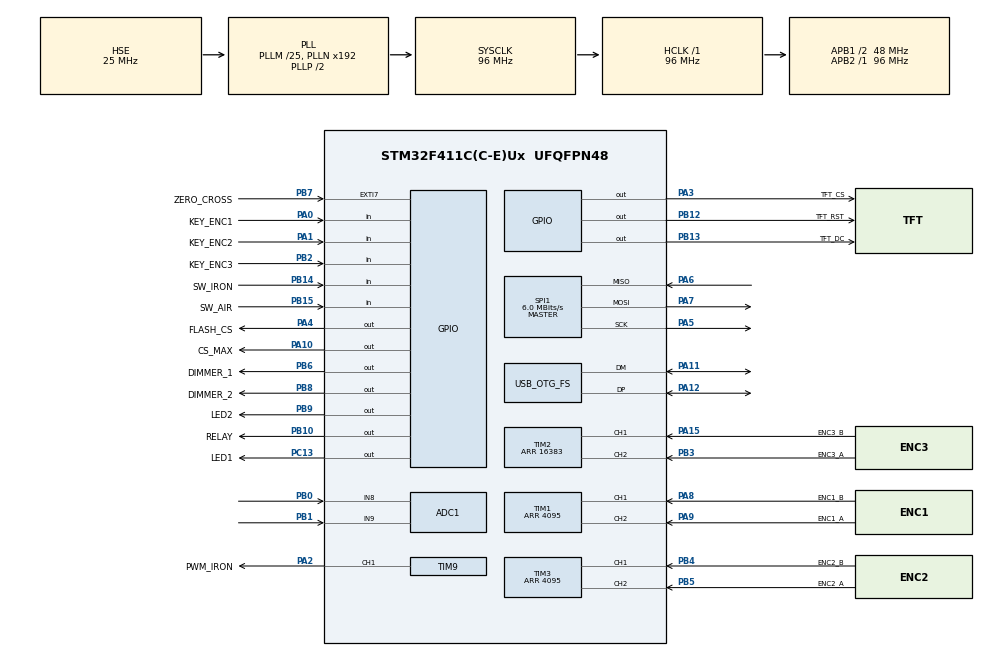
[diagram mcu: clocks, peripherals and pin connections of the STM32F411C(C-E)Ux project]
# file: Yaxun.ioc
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ADC1.Channel-0\#ChannelRegularConversion=ADC_CHANNEL_8
ADC1.Channel-1\#ChannelRegularConversion=ADC_CHANNEL_9
ADC1.Channel-2\#ChannelRegularConversion=ADC_CHANNEL_TEMPSENSOR
ADC1.Channel-3\#ChannelRegularConversion=ADC_CHANNEL_VREFINT
ADC1.ContinuousConvMode=ENABLE
ADC1.DMAContinuousRequests=ENABLE
ADC1.NbrOfConversion=4
ADC1.NbrOfConversionFlag=1
ADC1.Rank-0\#ChannelRegularConversion=1
ADC1.Rank-1\#ChannelRegularConversion=2
ADC1.Rank-2\#ChannelRegularConversion=3
ADC1.Rank-3\#ChannelRegularConversion=4
ADC1.SamplingTime-0\#ChannelRegularConversion=ADC_SAMPLETIME_480CYCLES
ADC1.SamplingTime-1\#ChannelRegularConversion=ADC_SAMPLETIME_480CYCLES
ADC1.SamplingTime-2\#ChannelRegularConversion=ADC_SAMPLETIME_480CYCLES
ADC1.SamplingTime-3\#ChannelRegularConversion=ADC_SAMPLETIME_480CYCLES
ADC1.master=1
Dma.ADC1.1.Direction=DMA_PERIPH_TO_MEMORY
Dma.ADC1.1.FIFOMode=DMA_FIFOMODE_DISABLE
Dma.ADC1.1.Instance=DMA2_Stream0
Dma.ADC1.1.MemDataAlignment=DMA_MDATAALIGN_HALFWORD
Dma.ADC1.1.MemInc=DMA_MINC_ENABLE
Dma.ADC1.1.Mode=DMA_CIRCULAR
Dma.ADC1.1.PeriphDataAlignment=DMA_PDATAALIGN_HALFWORD
Dma.ADC1.1.PeriphInc=DMA_PINC_DISABLE
Dma.ADC1.1.Priority=DMA_PRIORITY_MEDIUM
Dma.Request0=SPI1_TX
Dma.Request1=ADC1
Dma.SPI1_TX.0.Direction=DMA_MEMORY_TO_PERIPH
Dma.SPI1_TX.0.FIFOMode=DMA_FIFOMODE_DISABLE
Dma.SPI1_TX.0.Instance=DMA2_Stream2
Dma.SPI1_TX.0.MemDataAlignment=DMA_MDATAALIGN_BYTE
Dma.SPI1_TX.0.MemInc=DMA_MINC_ENABLE
Dma.SPI1_TX.0.Mode=DMA_NORMAL
Dma.SPI1_TX.0.PeriphDataAlignment=DMA_PDATAALIGN_BYTE
Dma.SPI1_TX.0.PeriphInc=DMA_PINC_DISABLE
Dma.SPI1_TX.0.Priority=DMA_PRIORITY_HIGH
Mcu.Family=STM32F4
Mcu.Name=STM32F411C(C-E)Ux
Mcu.Package=UFQFPN48
NVIC.DMA2_Stream0_IRQn=true\:0\:0\:false\:false\:true\:false\:true\:true
NVIC.DMA2_Stream2_IRQn=true\:2\:0\:true\:false\:true\:false\:true\:true
NVIC.EXTI9_5_IRQn=true\:2\:0\:true\:false\:true\:true\:true\:true
NVIC.OTG_FS_IRQn=true\:0\:0\:false\:false\:true\:false\:true\:true
NVIC.PriorityGroup=NVIC_PRIORITYGROUP_4
NVIC.SPI1_IRQn=true\:2\:0\:true\:false\:true\:true\:true\:true
NVIC.TIM1_TRG_COM_TIM11_IRQn=true\:15\:0\:false\:false\:true\:false\:true\:true
NVIC.TIM1_UP_TIM10_IRQn=true\:2\:0\:true\:false\:true\:true\:true\:true
NVIC.TIM4_IRQn=true\:4\:0\:true\:false\:true\:true\:true\:true
NVIC.TIM5_IRQn=true\:2\:0\:true\:false\:true\:true\:true\:true
NVIC.TimeBase=TIM1_TRG_COM_TIM11_IRQn
NVIC.TimeBaseIP=TIM11
PA0-WKUP.GPIO_Label=KEY_ENC1
PA0-WKUP.GPIO_PuPd=GPIO_NOPULL
PA0-WKUP.Signal=GPIO_Input
PA1.GPIO_Label=KEY_ENC2
PA1.Signal=GPIO_Input
PA10.GPIO_Label=CS_MAX
PA10.PinState=GPIO_PIN_SET
PA10.Signal=GPIO_Output
PA11.Mode=Device_Only
PA11.Signal=USB_OTG_FS_DM
PA12.Mode=Device_Only
PA12.Signal=USB_OTG_FS_DP
PA13.Mode=Serial_Wire
PA13.Signal=SYS_JTMS-SWDIO
PA14.Mode=Serial_Wire
PA14.Signal=SYS_JTCK-SWCLK
PA15.GPIO_Label=ENC3_B
PA15.Signal=S_TIM2_CH1_ETR
PA2.GPIO_Label=PWM_IRON
PA2.Signal=S_TIM9_CH1
PA3.GPIO_Label=TFT_CS
PA3.PinState=GPIO_PIN_SET
PA3.Signal=GPIO_Output
PA4.GPIO_Label=FLASH_CS
PA4.PinState=GPIO_PIN_SET
PA4.Signal=GPIO_Output
PA5.Mode=Full_Duplex_Master
PA5.Signal=SPI1_SCK
PA6.Mode=Full_Duplex_Master
PA6.Signal=SPI1_MISO
PA7.Mode=Full_Duplex_Master
PA7.Signal=SPI1_MOSI
PA8.GPIO_Label=ENC1_B
PA8.Signal=S_TIM1_CH1
PA9.GPIO_Label=ENC1_A
PA9.Signal=S_TIM1_CH2
PB0.Signal=ADCx_IN8
PB1.Signal=ADCx_IN9
PB10.GPIO_Label=RELAY
PB10.Signal=GPIO_Output
PB12.GPIO_Label=TFT_RST
PB12.PinState=GPIO_PIN_SET
PB12.Signal=GPIO_Output
PB13.GPIO_Label=TFT_DC
PB13.PinState=GPIO_PIN_SET
PB13.Signal=GPIO_Output
PB14.GPIO_Label=SW_IRON
PB14.GPIO_PuPd=GPIO_PULLUP
PB14.Signal=GPIO_Input
PB15.GPIO_Label=SW_AIR
PB15.GPIO_PuPd=GPIO_PULLUP
PB15.Signal=GPIO_Input
PB2.GPIO_Label=KEY_ENC3
PB2.Signal=GPIO_Input
PB3.GPIO_Label=ENC3_A
PB3.Signal=S_TIM2_CH2
PB4.GPIO_Label=ENC2_B
PB4.Signal=S_TIM3_CH1
PB5.GPIO_Label=ENC2_A
PB5.Signal=S_TIM3_CH2
PB6.GPIO_Label=DIMMER_1
PB6.Signal=GPIO_Output
PB7.GPIO_Label=ZERO_CROSS
PB7.GPIO_PuPd=GPIO_PULLUP
PB7.Signal=GPXTI7
PB8.GPIO_Label=DIMMER_2
PB8.Signal=GPIO_Output
PB9.GPIO_Label=LED2
PB9.PinState=GPIO_PIN_SET
PB9.Signal=GPIO_Output
PC13-ANTI_TAMP.GPIO_Label=LED1
PC13-ANTI_TAMP.PinState=GPIO_PIN_SET
PC13-ANTI_TAMP.Signal=GPIO_Output
PH0\ -\ OSC_IN.Mode=HSE-External-Oscillator
PH0\ -\ OSC_IN.Signal=RCC_OSC_IN
PH1\ -\ OSC_OUT.Mode=HSE-External-Oscillator
PH1\ -\ OSC_OUT.Signal=RCC_OSC_OUT
ProjectManager.HeapSize=0x200
ProjectManager.StackSize=0x400
ProjectManager.TargetToolchain=STM32CubeIDE
RCC.48MHZClocksFreq_Value=48000000
RCC.AHBFreq_Value=96000000
RCC.APB1CLKDivider=RCC_HCLK_DIV2
RCC.APB1Freq_Value=48000000
RCC.APB1TimFreq_Value=96000000
RCC.APB2Freq_Value=96000000
RCC.APB2TimFreq_Value=96000000
RCC.CortexFreq_Value=96000000
RCC.EnbaleCSS=true
RCC.HCLKFreq_Value=96000000
RCC.HSE_VALUE=25000000
RCC.HSI_VALUE=16000000
RCC.LSE_VALUE=32768
RCC.PLLM=25
RCC.RCC_RTC_Clock_Source=RCC_RTCCLKSOURCE_HSE_DIV25
RCC.RCC_RTC_Clock_SourceVirtual=RCC_RTCCLKSOURCE_LSE
RCC.RCC_RTC_Clock_Source_FROM_HSE=RCC_RTCCLKSOURCE_HSE_DIV25
RCC.SYSCLKFreq_VALUE=96000000
RCC.SYSCLKSource=RCC_SYSCLKSOURCE_PLLCLK
RCC.VCOOutputFreq_Value=192000000
RTC.AsynchPrediv=99
RTC.Date=21
RTC.Hours=15
RTC.Month=RTC_MONTH_AUGUST
RTC.SynchPrediv=10000
RTC.Year=23
SH.ADCx_IN8.0=ADC1_IN8,IN8
SH.ADCx_IN9.0=ADC1_IN9,IN9
SH.S_TIM1_CH1.0=TIM1_CH1,Encoder_Interface
SH.S_TIM1_CH2.0=TIM1_CH2,Encoder_Interface
SH.S_TIM2_CH1_ETR.0=TIM2_CH1,Encoder_Interface
SH.S_TIM2_CH2.0=TIM2_CH2,Encoder_Interface
SH.S_TIM3_CH1.0=TIM3_CH1,Encoder_Interface
SH.S_TIM3_CH2.0=TIM3_CH2,Encoder_Interface
SH.S_TIM9_CH1.0=TIM9_CH1,PWM Generation1 CH1
SPI1.BaudRatePrescaler=SPI_BAUDRATEPRESCALER_16
SPI1.CalculateBaudRate=6.0 MBits/s
SPI1.Direction=SPI_DIRECTION_2LINES
SPI1.Mode=SPI_MODE_MASTER
SPI1.VirtualType=VM_MASTER
TIM1.AutoReloadPreload=TIM_AUTORELOAD_PRELOAD_ENABLE
TIM1.EncoderMode=TIM_ENCODERMODE_TI12
TIM1.IC1Filter=10
TIM1.IC1Prescaler=TIM_ICPSC_DIV4
TIM1.IC2Filter=10
TIM1.IC2Polarity=TIM_ICPOLARITY_FALLING
TIM1.IC2Prescaler=TIM_ICPSC_DIV4
TIM1.Period=4095
TIM10.Period=1000-1
TIM10.Prescaler=800-1
TIM2.AutoReloadPreload=TIM_AUTORELOAD_PRELOAD_ENABLE
TIM2.ClockDivision=TIM_CLOCKDIVISION_DIV1
TIM2.EncoderMode=TIM_ENCODERMODE_TI12
TIM2.IC1Filter=10
TIM2.IC1Prescaler=TIM_ICPSC_DIV4
TIM2.IC2Filter=10
TIM2.IC2Polarity=TIM_ICPOLARITY_FALLING
TIM2.IC2Prescaler=TIM_ICPSC_DIV4
TIM2.Period=16383
TIM3.AutoReloadPreload=TIM_AUTORELOAD_PRELOAD_ENABLE
TIM3.ClockDivision=TIM_CLOCKDIVISION_DIV1
TIM3.EncoderMode=TIM_ENCODERMODE_TI12
TIM3.IC1Filter=10
TIM3.IC1Prescaler=TIM_ICPSC_DIV4
TIM3.IC2Filter=10
TIM3.IC2Polarity=TIM_ICPOLARITY_FALLING
TIM3.IC2Prescaler=TIM_ICPSC_DIV4
TIM3.Period=4095
TIM4.AutoReloadPreload=TIM_AUTORELOAD_PRELOAD_ENABLE
TIM4.Period=65535
TIM4.Prescaler=96-1
TIM5.Period=100-1
TIM5.Prescaler=80-1
TIM9.Channel-PWM\ Generation1\ CH1=TIM_CHANNEL_1
TIM9.Period=4096-1
TIM9.Prescaler=24-1
USB_DEVICE.CLASS_NAME_FS=CDC
USB_DEVICE.VirtualMode=Cdc
USB_DEVICE.VirtualModeFS=Cdc_FS
USB_OTG_FS.VirtualMode=Device_Only
VP_ADC1_TempSens_Input.Mode=IN-TempSens
VP_ADC1_Vref_Input.Mode=IN-Vrefint
VP_RTC_VS_RTC_Activate.Mode=RTC_Enabled
VP_RTC_VS_RTC_Calendar.Mode=RTC_Calendar
VP_SYS_VS_tim11.Mode=TIM11
VP_TIM10_VS_ClockSourceINT.Mode=Enable_Timer
VP_TIM4_VS_ClockSourceINT.Mode=Internal
VP_TIM5_VS_ClockSourceINT.Mode=Internal
VP_TIM9_VS_ClockSourceINT.Mode=Internal
VP_USB_DEVICE_VS_USB_DEVICE_CDC_FS.Mode=CDC_FS
board=custom

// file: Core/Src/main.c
/* USER CODE BEGIN Header */
/**
  ******************************************************************************
  * @file           : main.c
  * @brief          : Main program body
  ******************************************************************************
  * @attention
  *
  * Copyright (c) 2023 STMicroelectronics.
  * All rights reserved.
  *
  * This software is licensed under terms that can be found in the LICENSE file
  * in the root directory of this software component.
  * If no LICENSE file comes with this software, it is provided AS-IS.
  *
  ******************************************************************************
  */
/* USER CODE END Header */
#include "main.h"
#include "adc.h"
#include "dma.h"
#include "rtc.h"
#include "spi.h"
#include "tim.h"
#include "usb_device.h"
#include "gpio.h"

/* USER CODE BEGIN Includes */
#include "string.h"
#include "stdio.h"
#include "../App/ILI9341.h"
#include "../App/ILI9488.h"
#include "../App/MAX6675.h"
#include "../App/W25qxx.h"
#include "../App/key.h"
#include "../App/tab_temp.h"
#include "../App/power_ctrl.h"
#include "../lvgl/lvgl.h"
#include "../App/screen.h"
#include "../App/log_usb.h"
/* USER CODE END Includes */

/* USER CODE BEGIN PTD */
Encoder_Status Encoder_Get_Status(TIM_HandleTypeDef htimer);
void delay_us (uint16_t us);

#define DEBOUNCE_SW 		50
#define NUM_DIMMERS 		2
#define MAX_TEMPERATURE		525
#define DIMMER_VALUE_MAX	100

uint16_t adcBuffer[4]; 					// Buffer ADC conversion

uint32_t ADC_iron = 0, ADC_air = 0, ADC_temp = 0, ADC_vref = 0;
uint32_t flt_adc_8[8] ={0};
uint32_t flt_adc_9[8] ={0};
uint32_t flt_adc_t[8] ={0};
uint32_t flt_adc_v[8] ={0};
uint32_t idx_flt = 0;
uint32_t flt_flag = 0;
uint32_t timer_led1 = 0, timer_led2 = 0, timer_led3 = 0, timer_led4 = 0;
uint32_t timer_lvgl = 0, timer_max = 0, timer_rtc = 0, timer_debug = 0;

GPIO_PinState pin_sw_air;
uint8_t sw_air_low = 0;
uint8_t sw_air_high = 0;
volatile uint8_t sw_air = 0;

GPIO_PinState pin_sw_iron;
uint8_t sw_iron_low = 0;
uint8_t sw_iron_high = 0;
volatile uint8_t sw_iron = 0;

volatile uint32_t timer_key = 0;

float adc_ch8, adc_ch9;

volatile uint32_t enc1_cnt=0, enc1_last=0, enc1_dir=0, enc1_btn=0;
volatile uint32_t enc2_cnt=0, enc2_last=0, enc2_dir=0, enc2_btn=0;
volatile uint32_t enc3_cnt=0, enc3_last=0, enc3_dir=0, enc3_btn=0;
volatile uint32_t enc1_val=0, enc2_val=0, enc3_val=0;

uint32_t target_speed;
float target_iron, target_air;
uint32_t flag_iron, flag_air;

uint16_t pwm_iron = 0;
float temperature_air_K, temperature_K, temp_iron_K, temp_air_K;

extern _Bool TCF_IRON, TCF_AIR;
char str_termopar_iron[32] = {0};
char str_termopar_air[32] = {0};
float vdda = 0; // Result of VDDA calculation
float vref = 0; // Result of vref calculation
float temp_stm, ta, tb; // transfer function using calibration data
float max_debug[10] = {0.0};
uint16_t ptrmax = 0;

RTC_TimeTypeDef RTC_Time = {0};
RTC_DateTypeDef RTC_Date = {0};

Encoder_Status encoderStatus_1;
Encoder_Status encoderStatus_2;
Encoder_Status encoderStatus_3;
encoder rot1;
encoder rot2;
encoder rot3;
uint16_t newCount, prevCount;

int NumActiveChannels = NUM_DIMMERS;
volatile bool zero_cross = 0;
volatile int NumHandled = 0;
volatile bool isHandled[NUM_DIMMERS] = { 0, 0 };
uint8_t State [NUM_DIMMERS] = { 1, 1 };
bool pLampState[2]={ false, false };
uint32_t dimmer_Counter[NUM_DIMMERS] = { 0, 0 };
uint32_t dimmer_value[NUM_DIMMERS]   = { 0, 0 };
//uint32_t dimmer_max[NUM_DIMMERS]     = { 0, 0 };
//uint32_t dimmer_tmr = 0;
//uint32_t dimmer_tmr_save = 0;
uint32_t timer_cnt5 = 0;

static lv_disp_draw_buf_t draw_buf;
static lv_color_t buf1[(ILI9341_SCREEN_WIDTH * 10)];                        		// Declare a buffer for 1/10 screen size
static lv_color_t buf2[(ILI9341_SCREEN_WIDTH * 10)];
static lv_disp_drv_t disp_drv;        // Descriptor of a display driver

/* USER CODE END PTD */

/* USER CODE BEGIN PD */
void filter_adc(void);
void calculate_calibration(void);
uint32_t map_uint32(uint32_t var, uint32_t x_min, uint32_t x_max, uint32_t y_min, uint32_t y_max);
int map_dimmer(int var, int x_min, int x_max, int y_min, int y_max);
void Zero_Crossing_Int(void);
void dimmerTimerISR(void);
/* USER CODE END PD */

void SystemClock_Config(void);

int main(void)
{

  /* MCU Configuration--------------------------------------------------------*/

  /* Reset of all peripherals, Initializes the Flash interface and the Systick. */
  HAL_Init();

  /* Configure the system clock */
  SystemClock_Config();

  /* Initialize all configured peripherals */
  MX_GPIO_Init();
  MX_DMA_Init();
  MX_RTC_Init();
  MX_SPI1_Init();
  MX_USB_DEVICE_Init();
  MX_TIM1_Init();
  MX_TIM3_Init();
  MX_TIM9_Init();
  MX_ADC1_Init();
  MX_TIM2_Init();
  MX_TIM5_Init();
  MX_TIM10_Init();
  MX_TIM4_Init();
  /* USER CODE BEGIN 2 */
  HAL_TIM_Base_Start_IT(&htim4);
  HAL_TIM_Base_Start_IT(&htim5);
  HAL_TIM_Base_Start_IT(&htim10);
  HAL_TIM_Encoder_Start(&htim1, TIM_CHANNEL_ALL);
  HAL_TIM_Encoder_Start(&htim2, TIM_CHANNEL_ALL);
  HAL_TIM_Encoder_Start(&htim3, TIM_CHANNEL_ALL);
  // PWM
  HAL_TIM_PWM_Start(&htim9, TIM_CHANNEL_1);
  pwm_iron = 0;
  __HAL_TIM_SetCompare(&htim9, TIM_CHANNEL_1, pwm_iron);		// PWM_CH1 = 4095 IRON
  // Start ADC
  idx_flt = 0;
  flt_flag = 0;
  calculate_calibration();
  HAL_ADC_Start_DMA(&hadc1, (uint32_t*)adcBuffer, 4);	// Start ADC in DMA

  dimmer_Counter[0] = 0;
  dimmer_Counter[1] = 0;
  dimmer_value[0] = 0;
  dimmer_value[1] = 0;
  State[0] = 1;
  State[1] = 1;

  enc1_dir = 0;
  enc1_cnt = 0;
  enc1_val = 0;
  enc1_last = 0;

  enc2_dir = 0;
  enc2_cnt = 0;
  enc2_val = 0;
  enc2_last = 0;

  enc3_dir = 0;
  enc3_cnt = 0;
  enc3_val = 0;
  enc3_last = 0;

  rot1.cnt = 0;
  rot2.cnt = 0;
  rot3.cnt = 0;

  // Init Flash
  W25qxx_Init();

  // Apaga LEDS
  // LED-1 - PWM GUN
  // LED-2 - REPOUSO
  // LED-3 - OPERATE
  // LED-4 - PWM IRON
  HAL_GPIO_WritePin(DIMMER_1_GPIO_Port, DIMMER_1_Pin, GPIO_PIN_RESET);
  HAL_GPIO_WritePin(DIMMER_2_GPIO_Port, DIMMER_2_Pin, GPIO_PIN_RESET);
  HAL_GPIO_WritePin(RELAY_GPIO_Port,RELAY_Pin, GPIO_PIN_RESET);
  HAL_GPIO_WritePin(LED1_GPIO_Port, LED1_Pin, GPIO_PIN_SET);
  HAL_GPIO_WritePin(LED2_GPIO_Port, LED2_Pin, GPIO_PIN_SET);

  Evt_InitQueue();
  KeyboardInit(0x01);

  target_iron = 0.0f;
  target_air = 0.0f;
  target_speed = 0;
  flag_iron = 0;
  flag_air = 0;

  ILI9341_Init();
  ILI9341_Set_Address(0, 0, ILI9341_SCREEN_WIDTH-1, ILI9341_SCREEN_HEIGHT-1);
  ILI9341_Set_Rotation(1);
  ILI9341_Fill_Screen(0x0000);
  lv_init();

  lv_disp_draw_buf_init(&draw_buf, buf1, buf2, (ILI9341_SCREEN_WIDTH * 10) );		// Initialize the display buffer.
  lv_disp_drv_init(&disp_drv);          				// Basic initialization

  disp_drv.flush_cb = ILI9341_Flush_dma;    			// Set your driver function
  disp_drv.hor_res = ILI9341_SCREEN_WIDTH;   			// Set the horizontal resolution of the display
  disp_drv.ver_res = ILI9341_SCREEN_HEIGHT;   			// Set the vertical resolution of the display

  disp_drv.draw_buf   = &draw_buf;        				// Assign the buffer to the display
  disp_drv.rotated    = LV_DISP_ROT_90;
  disp_drv.sw_rotate  = 1;
  lv_disp_drv_register(&disp_drv);      				// Finally register the driver

  screen_main();
  screen_debug();
  load_screen(0);

  /* USER CODE END 2 */

  /* Infinite loop */
  while (1)
  {

    /* USER CODE BEGIN 3 */
	  if(HAL_GetTick() - timer_lvgl > 5) {
		  timer_lvgl = HAL_GetTick();
		  lv_timer_handler();
	  }

	  // Debug Serial Text
//	  if(HAL_GetTick() - timer_debug > 1000) {
//	  		timer_debug = HAL_GetTick();
//	  		Log_temp_iron();
//	  }

	  if(HAL_GetTick() - timer_max > 500) {
		  timer_max = HAL_GetTick();
		  HAL_Delay(300);
		  // Temperatura Iron
		  temp_iron_K = Max6675_Read_Temp(0);
		  if(TCF_IRON == 0) {
			  temperature_K = temp_iron_K;
			  max_debug[ptrmax] = temp_iron_K;
			  ptrmax++;
			  if(ptrmax > 10) ptrmax = 0;
			  sprintf(str_termopar_iron, "Temp(K): %0.2f°C", temperature_K);
		  }
		  else {
			  sprintf(str_termopar_iron, "Temp(K): Not Connected");
		  }
		  // Temperatura Air
		  temp_air_K = Max6675_Read_Temp(1);
		  if(TCF_AIR == 0) {
			  temperature_air_K = temp_air_K;
			  sprintf(str_termopar_air, "Temp(K): %0.2f°C", temperature_air_K);
		  }
		  else {
			  sprintf(str_termopar_air, "Temp(K): Not Connected");
		  }
	  }

	  if(HAL_GetTick() - timer_rtc > 1000) {
		  timer_rtc = HAL_GetTick();
		  HAL_RTC_GetTime(&hrtc, &RTC_Time, RTC_FORMAT_BIN);
		  HAL_RTC_GetDate(&hrtc, &RTC_Date, RTC_FORMAT_BIN);
	  }

	  // Encoder 1
	  enc1_cnt = htim1.Instance->CNT >> 2;
	  enc1_dir = !(__HAL_TIM_IS_TIM_COUNTING_DOWN(&htim1));

	  if(enc1_cnt != enc1_last) {
		  enc1_last  = enc1_cnt;
	  }

	  // Encoder 2
	  enc2_cnt = htim2.Instance->CNT >> 2;
	  enc2_dir = !(__HAL_TIM_IS_TIM_COUNTING_DOWN(&htim2));

	  if(enc2_cnt != enc2_last) {
		  enc2_last = enc2_cnt;
	  }

	  // Encoder 3
	  enc3_cnt = htim3.Instance->CNT >> 2;
	  enc3_dir = !(__HAL_TIM_IS_TIM_COUNTING_DOWN(&htim3));

	  if(enc3_cnt != enc3_last) {
	  	  enc3_last = enc3_cnt;
	  }

	  if(enc1_last != dimmer_value[0]) {
		  dimmer_value[0] = enc1_last;
		  if(dimmer_value[0] >= 100) dimmer_value[0] = 99;
	  }

	  if(enc2_last != dimmer_value[1])
		  if(enc2_last > 0 && enc2_last <= 4095)
			  pwm_iron = enc2_last;

	  if(enc3_last != pwm_iron) {
		  dimmer_value[1] = enc3_last;
	  	  if(dimmer_value[1] >= 100) dimmer_value[1] = 99;
	  }

	  // Buttons Encoders
	  KeyboardEvent();

	  // Read ADC
	  filter_adc();
	  //adc_ch8 = ADC_iron * ((float)3300.0/4095.0);
	  //adc_ch9 = ADC_air * ((float)3300.0/4095.0);
	  //ADC_MeasurementCorrection();

	  // Controle de Temperatura
//	  control_temperature_iron();
//	  control_temperature_air();
//	  control_speed_air();
  }
  /* USER CODE END 3 */
}

void SystemClock_Config(void)
{
  RCC_OscInitTypeDef RCC_OscInitStruct = {0};
  RCC_ClkInitTypeDef RCC_ClkInitStruct = {0};

  /** Configure the main internal regulator output voltage
  */
  __HAL_RCC_PWR_CLK_ENABLE();
  __HAL_PWR_VOLTAGESCALING_CONFIG(PWR_REGULATOR_VOLTAGE_SCALE1);

  /** Initializes the RCC Oscillators according to the specified parameters
  * in the RCC_OscInitTypeDef structure.
  */
  RCC_OscInitStruct.OscillatorType = RCC_OSCILLATORTYPE_HSE;
  RCC_OscInitStruct.HSEState = RCC_HSE_ON;
  RCC_OscInitStruct.PLL.PLLState = RCC_PLL_ON;
  RCC_OscInitStruct.PLL.PLLSource = RCC_PLLSOURCE_HSE;
  RCC_OscInitStruct.PLL.PLLM = 25;
  RCC_OscInitStruct.PLL.PLLN = 192;
  RCC_OscInitStruct.PLL.PLLP = RCC_PLLP_DIV2;
  RCC_OscInitStruct.PLL.PLLQ = 4;
  if (HAL_RCC_OscConfig(&RCC_OscInitStruct) != HAL_OK)
  {
    Error_Handler();
  }

  /** Initializes the CPU, AHB and APB buses clocks
  */
  RCC_ClkInitStruct.ClockType = RCC_CLOCKTYPE_HCLK|RCC_CLOCKTYPE_SYSCLK
                              |RCC_CLOCKTYPE_PCLK1|RCC_CLOCKTYPE_PCLK2;
  RCC_ClkInitStruct.SYSCLKSource = RCC_SYSCLKSOURCE_PLLCLK;
  RCC_ClkInitStruct.AHBCLKDivider = RCC_SYSCLK_DIV1;
  RCC_ClkInitStruct.APB1CLKDivider = RCC_HCLK_DIV2;
  RCC_ClkInitStruct.APB2CLKDivider = RCC_HCLK_DIV1;

  if (HAL_RCC_ClockConfig(&RCC_ClkInitStruct, FLASH_LATENCY_3) != HAL_OK)
  {
    Error_Handler();
  }

  /** Enables the Clock Security System
  */
  HAL_RCC_EnableCSS();
}

/* USER CODE BEGIN 4 */

void debounce_input(void)
{
	// Debounce SW_AIR PIN
	pin_sw_air = HAL_GPIO_ReadPin(SW_AIR_GPIO_Port, SW_AIR_Pin);
	if(pin_sw_air == 0) {
		sw_air_low++;
		sw_air_high = 0;
		if(sw_air_low >= DEBOUNCE_SW) {
			sw_air_low = DEBOUNCE_SW + 1;
			sw_air = 0;
		}
	}
	else {
		sw_air_high++;
		sw_air_low = 0;
		if(sw_air_high >= DEBOUNCE_SW) {
			sw_air_high = DEBOUNCE_SW + 1;
			sw_air = 1;
		}
	}
	//
	// Debounce SW_IRON PIN
	pin_sw_iron = HAL_GPIO_ReadPin(SW_AIR_GPIO_Port, SW_AIR_Pin);
	if(pin_sw_iron == 0) {
		sw_iron_low++;
		sw_iron_high = 0;
		if(sw_iron_low >= DEBOUNCE_SW) {
			sw_iron_low = DEBOUNCE_SW + 1;
			sw_iron = 0;
		}
	}
	else {
		sw_iron_high++;
		sw_iron_low = 0;
		if(sw_iron_high >= DEBOUNCE_SW) {
			sw_iron_high = DEBOUNCE_SW + 1;
			sw_iron = 1;
		}
	}
}

void HAL_ADC_ConvCpltCallback(ADC_HandleTypeDef* hadc)
{
	flt_adc_8[idx_flt] = (uint32_t)adcBuffer[0];
	flt_adc_9[idx_flt] = (uint32_t)adcBuffer[1];
	flt_adc_t[idx_flt] = (uint32_t)adcBuffer[2];
	flt_adc_v[idx_flt] = (uint32_t)adcBuffer[3];
	idx_flt++;
	if(idx_flt >= 8) {
		idx_flt = 0;
		flt_flag = 1;
	}
}

void filter_adc(void)
{
	if(flt_flag == 1) {
		ADC_iron = ( ( flt_adc_8[0]+flt_adc_8[1]+flt_adc_8[2]+flt_adc_8[3]+flt_adc_8[4]+flt_adc_8[5]+flt_adc_8[6]+flt_adc_8[7] ) / 8 );
		ADC_air  = ( ( flt_adc_9[0]+flt_adc_9[1]+flt_adc_9[2]+flt_adc_9[3]+flt_adc_9[4]+flt_adc_9[5]+flt_adc_9[6]+flt_adc_9[7] ) / 8 );
        ADC_temp = ( ( flt_adc_t[0]+flt_adc_t[1]+flt_adc_t[2]+flt_adc_t[3]+flt_adc_t[4]+flt_adc_t[5]+flt_adc_t[6]+flt_adc_t[7] ) / 8 );
		ADC_vref = ( ( flt_adc_v[0]+flt_adc_v[1]+flt_adc_v[2]+flt_adc_v[3]+flt_adc_v[4]+flt_adc_v[5]+flt_adc_v[6]+flt_adc_v[7] ) / 8 );

		// VDDA can be calculated based on the measured vref and the calibration data
	    vdda = (float)VREFINT_CAL_VREF * (float)*VREFINT_CAL_ADDR / ADC_vref / 1000;

	    // Knowing vdda and the resolution of adc - the actual voltage can be calculated
	    vref = (float) vdda / 4095 * ADC_vref;

	    temp_stm = (float) (ta * (float) (ADC_temp) + tb);
		flt_flag = 0;
	}
}

void calculate_calibration(void)
{
    float x1 = (float) *TEMPSENSOR_CAL1_ADDR;
    float x2 = (float) *TEMPSENSOR_CAL2_ADDR;
    float y1 = (float) TEMPSENSOR_CAL1_TEMP;
    float y2 = (float) TEMPSENSOR_CAL2_TEMP;

    // Simple linear equation y = ax + b based on two points
    ta = (float) ((y2 - y1) / (x2 - x1));
    tb = (float) ((x2 * y1 - x1 * y2) / (x2 - x1));
}

uint32_t map_uint32(uint32_t var, uint32_t x_min, uint32_t x_max, uint32_t y_min, uint32_t y_max)
{
	uint32_t value = var;

	if(value >= x_max) value = x_max;
	return (uint32_t)(value - x_min) * (y_max - y_min) / (x_max - x_min) + x_min;
}

int map_dimmer(int var, int x_min, int x_max, int y_min, int y_max)
{
	int value = var;

	if(value >= x_max) value = x_max;
	return (int)(value - x_min) * (y_max - y_min) / (x_max - x_min) + x_min;
}

// EXTI Line9 External Interrupt ISR Handler CallBackFun
void HAL_GPIO_EXTI_Callback(uint16_t GPIO_Pin)
{
    if(GPIO_Pin == ZERO_CROSS_Pin) 				// If The INT Source Is EXTI Line7 (B7 Pin)
    {
		HAL_NVIC_DisableIRQ(EXTI9_5_IRQn);
		Zero_Crossing_Int();
		HAL_NVIC_EnableIRQ(EXTI9_5_IRQn);
    }
}

void Zero_Crossing_Int(void)
{
	NumHandled = 0;

	isHandled[0] = 0;
	isHandled[1] = 0;
	timer_cnt5 = 0;
	zero_cross = 1;
	HAL_GPIO_WritePin(DIMMER_1_GPIO_Port, DIMMER_1_Pin, GPIO_PIN_RESET);
	HAL_GPIO_WritePin(DIMMER_2_GPIO_Port, DIMMER_2_Pin, GPIO_PIN_RESET);
}

void dimmerTimerISR(void)
{
	if(zero_cross == 1) {
		for(int i = 0; i < NUM_DIMMERS; i++) {
			if(State[i] == 1) {
				if( dimmer_Counter[i] > (DIMMER_VALUE_MAX - dimmer_value[i]) ) {
					if(i == 0){
						HAL_GPIO_WritePin(DIMMER_1_GPIO_Port, DIMMER_1_Pin, GPIO_PIN_SET);
						pLampState[i] = true;
					}else if(i  == 1){
						HAL_GPIO_WritePin(DIMMER_2_GPIO_Port, DIMMER_2_Pin, GPIO_PIN_SET);
						pLampState[i] = true;
					}
					isHandled[i] = 1;
					NumHandled++;
					if(NumHandled == NumActiveChannels) {
						zero_cross = 0;
					}
				}
				else if(isHandled[i] == 0) {
					dimmer_Counter[i]++;
				}
			}
		}
	}
}

void HAL_SPI_TxCpltCallback(SPI_HandleTypeDef *hspi)
{
	if(hspi->Instance == SPI1) {
		ILI9341_End_Flush(&disp_drv);
	}
}

uint16_t Encoder_Read(TIM_HandleTypeDef htimer)
{
  uint16_t val = __HAL_TIM_GET_COUNTER(&htimer);
  return val >> 1;
}

Encoder_Status Encoder_Get_Status(TIM_HandleTypeDef htimer)
{
	newCount = Encoder_Read(htimer);
	if (newCount != prevCount) {
		if (newCount > prevCount) {
			prevCount = newCount;
			return Incremented;
		} else {
			prevCount = newCount;
			return Decremented;
		}
	}
	return Neutral;
}

void delay_us (uint16_t us)
{
	__HAL_TIM_SET_COUNTER(&htim4, 0);  				// set the counter value a 0
	while (__HAL_TIM_GET_COUNTER(&htim4) < us);  	// wait for the counter to reach the us input in the parameter
}
/* USER CODE END 4 */

void HAL_TIM_PeriodElapsedCallback(TIM_HandleTypeDef *htim)
{
  if (htim->Instance == TIM11) {
    HAL_IncTick();
  }
  /* USER CODE BEGIN Callback 1 */
  if (htim->Instance == TIM11) {
	  debounce_input();
	  lv_tick_inc(1);
	  timer_key++;
	  if(timer_key >= PUSHBTN_TMR_PERIOD) {
		  timer_key = 0;
		  Key_Read();
	  }
  }
  if(htim->Instance == TIM4) {			// 1us

  }

  if(htim->Instance == TIM5) {			// 12Khz - 84us
	  timer_cnt5++;
	  dimmerTimerISR();
  }

  if(htim->Instance == TIM10) {			// 120Hz - 8.33ms
	  HAL_GPIO_WritePin(RELAY_GPIO_Port,RELAY_Pin, GPIO_PIN_SET);
	  for(uint16_t u = 0; u < 300; u++) {
		  __NOP();
	  }
	  HAL_GPIO_WritePin(RELAY_GPIO_Port,RELAY_Pin, GPIO_PIN_RESET);
  }

  /* USER CODE END Callback 1 */
}

void Error_Handler(void)
{
  __disable_irq();
  while (1)
  {
  }
}
